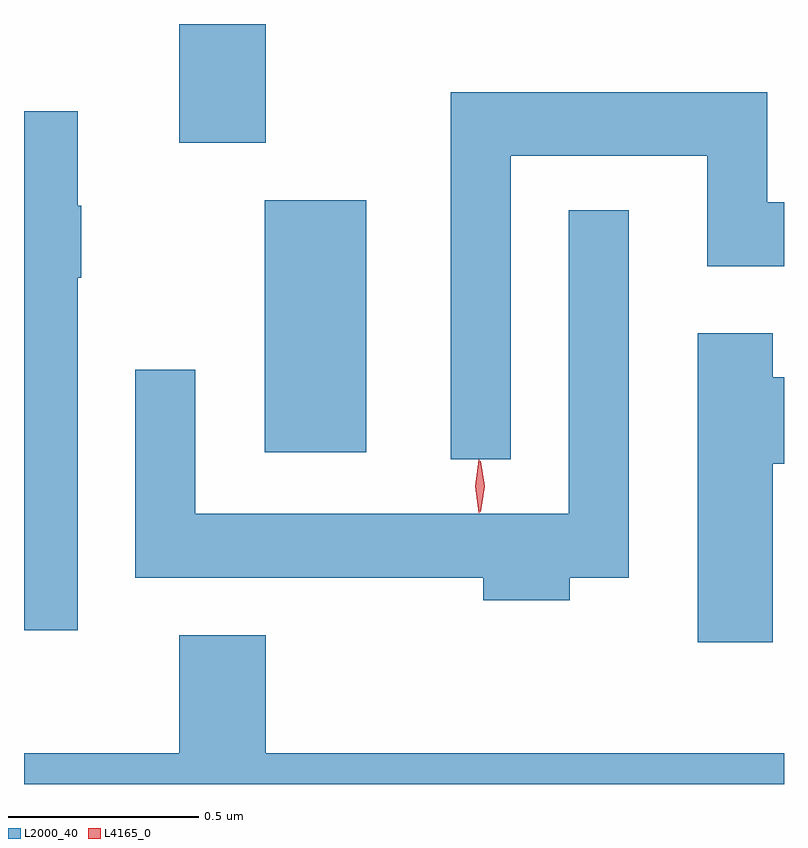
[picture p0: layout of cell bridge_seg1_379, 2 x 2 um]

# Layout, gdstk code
import gdstk
lib = gdstk.Library(unit=1e-6, precision=1e-09)
def R(c, l, rs):  # rectangles x0, y0, x1, y1
    for r in rs: c.add(gdstk.rectangle(r[:2], r[2:], *l))
def P(c, l, *ps):  # polygons
    for p in ps: c.add(gdstk.Polygon(p, *l))
L2000_40 = (2000, 40)
L4165_0 = (4165, 0)

bridge_seg1_379 = lib.new_cell('bridge_seg1_379')
R(bridge_seg1_379, L2000_40, [(873.126,869.556,873.394,870.219), (872.901,870.371,873.129,870.683)])
P(bridge_seg1_379, L2000_40, [(873.774,870.336),(874.291,870.336),(874.291,870.046),(874.493,870.046),(874.493,870.214),(874.449,870.214),(874.449,870.504),(873.616,870.504),(873.616,869.538),(873.774,869.538)],
  [(872.634,870.015),(872.644,870.015),(872.644,870.205),(872.634,870.205),(872.634,870.454),(872.493,870.454),(872.493,869.088),(872.634,869.088)],
  [(873.929,869.226),(874.084,869.226),(874.084,870.193),(873.926,870.193),(873.926,869.394),(872.944,869.394),(872.944,869.773),(872.786,869.773),(872.786,869.226),(873.701,869.226),(873.701,869.166),(873.929,869.166)],
  [(874.464,869.526),(874.493,869.526),(874.493,869.754),(874.464,869.754),(874.464,869.869),(874.266,869.869),(874.266,869.056),(874.464,869.056)],
  [(874.493,868.764),(873.129,868.764),(873.129,869.074),(872.901,869.074),(872.901,868.764),(872.493,868.764),(872.493,868.683),(874.493,868.683)])
P(bridge_seg1_379, L4165_0, [(873.695,869.399),(873.694,869.4),(873.685,869.466),(873.694,869.532),(873.695,869.533),(873.695,869.532),(873.705,869.466),(873.695,869.4)],
  [(873.69,869.397),(873.69,869.397),(873.68,869.467),(873.69,869.536),(873.69,869.536),(873.691,869.536),(873.7,869.467),(873.691,869.397)])

lib.write_gds('bridge_seg1_379.gds')
